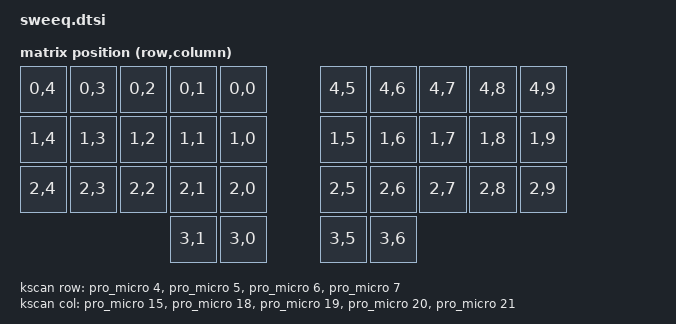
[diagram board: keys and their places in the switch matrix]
/*
 * Sweeq keyboard matrix layout for ZMK
 * Converted from QMK layout
 *
 * SPDX-License-Identifier: MIT
 */

#include <dt-bindings/zmk/matrix_transform.h>
#include <layouts/cuddlykeyboards/ferris.dtsi>

&cuddlykeyboards_ferris_layout {
    transform = <&default_transform>;
};

&pro_micro {
    status = "okay";
};

/{
    

    default_transform: keymap_transform_0 {
        compatible = "zmk,matrix-transform";
        columns = <10>;
        rows = <4>;
        map = <
            RC(0,4) RC(0,3) RC(0,2) RC(0,1) RC(0,0) RC(4,5) RC(4,6) RC(4,7) RC(4,8) RC(4,9)
            RC(1,4) RC(1,3) RC(1,2) RC(1,1) RC(1,0) RC(1,5) RC(1,6) RC(1,7) RC(1,8) RC(1,9)
            RC(2,4) RC(2,3) RC(2,2) RC(2,1) RC(2,0) RC(2,5) RC(2,6) RC(2,7) RC(2,8) RC(2,9)
                                    RC(3,1) RC(3,0) RC(3,5) RC(3,6)
        >;
    };
    kscan: kscan  {
        compatible = "zmk,kscan-gpio-matrix";
        wakeup-source;

        diode-direction = "col2row";
    col-gpios
            = <&pro_micro 15 GPIO_ACTIVE_HIGH>
            , <&pro_micro 18 GPIO_ACTIVE_HIGH>
            , <&pro_micro 19 GPIO_ACTIVE_HIGH>
            , <&pro_micro 20 GPIO_ACTIVE_HIGH>
            , <&pro_micro 21 GPIO_ACTIVE_HIGH>;
    
    row-gpios
            = <&pro_micro 4 (GPIO_ACTIVE_HIGH | GPIO_PULL_DOWN)>
            , <&pro_micro 5 (GPIO_ACTIVE_HIGH | GPIO_PULL_DOWN)>
            , <&pro_micro 6 (GPIO_ACTIVE_HIGH | GPIO_PULL_DOWN)>
            , <&pro_micro 7 (GPIO_ACTIVE_HIGH | GPIO_PULL_DOWN)>;
    
    };


    physical_layout0: physical_layout_0 { // First physical layout, use different naming for other layouts
        compatible = "zmk,physical-layout";
        display-name = "Default Layout";
        transform = <&default_transform>; // Label of the matrix transform for this layout
    };

    chosen {
        zmk,kscan = &kscan;
        zmk,physical-layout = &physical_layout0;
    };
};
